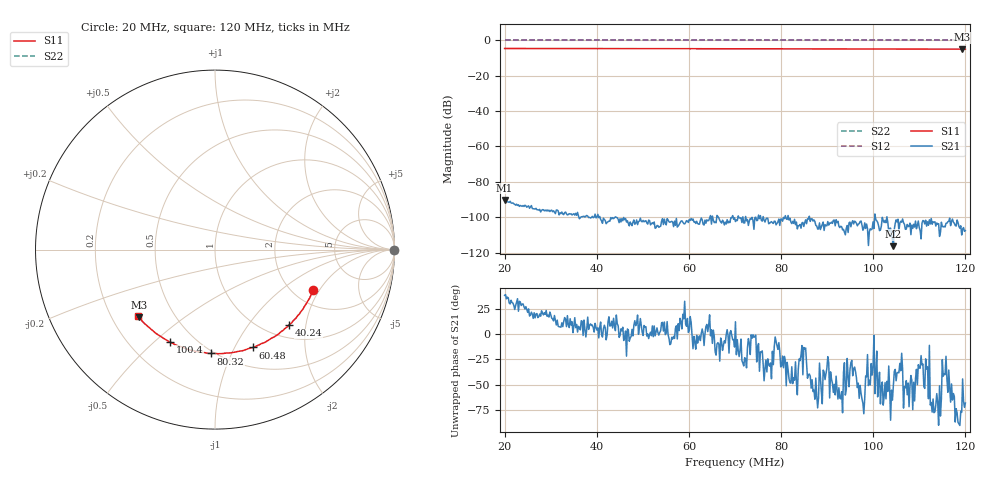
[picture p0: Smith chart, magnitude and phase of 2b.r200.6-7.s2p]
! Anritsu VNA Master:  Model: MS2036C/10/77
! SN:  1601066
! /card0/usr/18may27.balun/252b.r200.5.s2p
! Existing Calibration Information:
! TYPE:  Current Settings,  Active Cal Settings
! TIME:  05/27/2018 01:29:08 PM,  05/27/2018 01:14:08 PM
! INTERNAL TEMP:  52.0 C,  52.0 C
! # POINTS:  500,  500
! START FREQ:  20.000 MHz,  20.000 MHz
! STOP FREQ:  120.000 MHz,  120.000 MHz
! SOURCE POWER:  High,  High
! IFBW:  50 Hz,  50 Hz
! AVG FACTOR:  1 ,  1
! REF PLANE 1:  0 mm,  0 mm
! REF PLANE 2:  0 mm,  0 mm
! CAL TYPE:  Full S11,  Full S11
! CAL METHOD:  SOLT,  SOLT
! CAL LINE TYPE:  Coax,  Coax
! DUT PORT 1:  K-Conn(M),  K-Conn(M)
! DUT PORT 2:  K-Conn(M),  K-Conn(M)
! CAL STATUS:  OK: Accuracy High,  --
# GHZ S DB R 50.0
! FREQ.GHZ  S11DB  S11A  S21DB  S21A  S12DB  S12A  S22DB  S22A
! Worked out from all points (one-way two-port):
!   500 points, 20 MHz to 120 MHz, reference 50 ohm
!   highest |S21| = -90.31 dB at 20 MHz (marker M1); lowest = -116.4 dB at 104.4 MHz (marker M2)
!   lowest |S11| = -4.9 dB at 119.2 MHz (marker M3), VSWR 3.62, Z = 15.6 - j17.4 ohm
!   |S11| at or under -10 dB: nowhere
!   |S22| runs from 0.0 to 0.0 dB; largest |S21 - S12| = 1
!   S11 on the Smith chart (normalised r, x): 20 MHz: 2.53, -1.77; 40.24 MHz: 1.25, -1.61; 60.48 MHz: 0.72, -1.19; 80.32 MHz: 0.48, -0.84; 100.4 MHz: 0.37, -0.56; 120 MHz: 0.31, -0.34
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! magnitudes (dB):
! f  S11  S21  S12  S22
! 20 MHz  -4.6  -90.3  0.0  0.0
! 35.63 MHz  -4.6  -98.9  0.0  0.0
! 36.83 MHz  -4.6  -99.7  0.0  0.0
! 38.44 MHz  -4.6  -100.1  0.0  0.0
! 40.24 MHz  -4.6  -98.4  0.0  0.0
! 48.86 MHz  -4.6  -104.2  0.0  0.0
! 50.66 MHz  -4.7  -102.0  0.0  0.0
! 53.47 MHz  -4.6  -105.7  0.0  0.0
! 60.48 MHz  -4.7  -100.8  0.0  0.0
! 61.88 MHz  -4.7  -103.6  0.0  0.0
! 65.29 MHz  -4.7  -101.6  0.0  0.0
! 70.1 MHz  -4.7  -102.5  0.0  0.0
! 72.91 MHz  -4.7  -104.7  0.0  0.0
! 80.32 MHz  -4.7  -102.3  0.0  0.0
! 83.73 MHz  -4.8  -104.8  0.0  0.0
! 86.73 MHz  -4.8  -100.9  0.0  0.0
! 94.15 MHz  -4.8  -106.3  0.0  0.0
! 100.4 MHz  -4.8  -98.2  0.0  0.0
! 103.4 MHz  -4.8  -108.2  0.0  0.0
! 104.4 MHz  -4.9  -116.4  0.0  0.0
! 119.2 MHz  -4.9  -110.1  0.0  0.0
! 120 MHz  -4.9  -107.6  0.0  0.0
